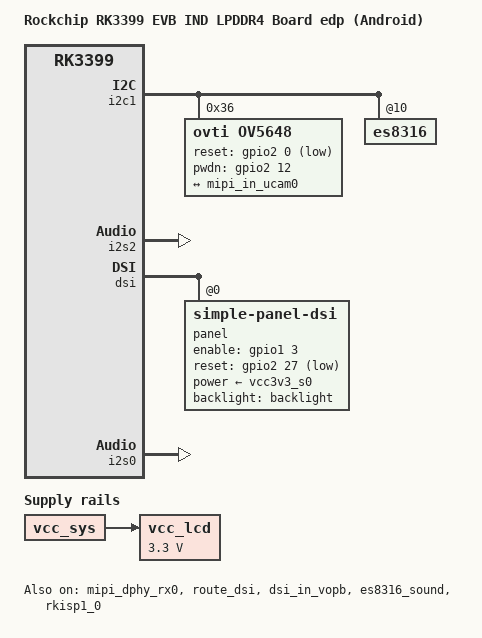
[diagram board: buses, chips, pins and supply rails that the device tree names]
// SPDX-License-Identifier: (GPL-2.0+ OR MIT)
/*
 * Copyright (c) 2019 Fuzhou Rockchip Electronics Co., Ltd
 */

/dts-v1/;

#include "rk3399-evb-ind-r70.dtsi"
#include "rk3399-android.dtsi"
//#include "lcd/lcd-dsi-JL101-CC1001-27J.dtsi"
#include "lcd/lcd-dsi-JL101-CC1001-27K.dtsi"

/ {
	model = "Rockchip RK3399 EVB IND LPDDR4 Board edp (Android)";
	compatible = "rockchip,android", "rockchip,rk3399-evb-ind-lpddr4-android-r70", "rockchip,rk3399";
	chosen: chosen {
		bootargs = "earlycon=uart8250,mmio32,0xff1a0000 console=ttyFIQ0 androidboot.baseband=N/A androidboot.veritymode=enforcing androidboot.hardware=rk30board androidboot.console=ttyFIQ0 init=/init initrd=0x62000001,0x00800000 coherent_pool=1m";
	};

	iram: sram@ff8d0000 {
		compatible = "mmio-sram";
		reg = <0x0 0xff8d0000 0x0 0x20000>;
	};

	vcc_lcd: vcc-lcd {
		compatible = "regulator-fixed";
		regulator-name = "vcc_lcd";
		startup-delay-us = <20000>;
		enable-active-high;
		regulator-min-microvolt = <3300000>;
		regulator-max-microvolt = <3300000>;
		regulator-boot-on;
		vin-supply = <&vcc_sys>;
	};


	test-power {
		status = "okay";
	};
};

&backlight {
	enable-gpios = <&gpio1 2 GPIO_ACTIVE_HIGH>;
	pinctrl-names = "default"; 
	pinctrl-0 = <&bl_en>; 
};

&dmac_bus {
	iram = <&iram>;
	rockchip,force-iram;
};
/*
&dp_sound {
	status = "disabled";
};*/
/*
&edp {
	status = "disabled";
	force-hpd;

	ports {
		port@1 {
			reg = <1>;

			edp_out: endpoint {
				remote-endpoint = <&panel_in>;
			};
		};
	};
};

&edp_in_vopl {
	status = "disabled";
};
*/
&i2c1 {
	status = "okay";
	ov5648: ov5648@36 {
		compatible = "ovti,ov5648";
		status = "okay";
		reg = <0x36>;
		clocks = <&cru SCLK_CIF_OUT>;
		clock-names = "xvclk";
		/* avdd-supply = <>; */
		/* dvdd-supply = <>; */
		/* dovdd-supply = <>; */
		/* reset-gpios = <>; */
		//dovdd-supply = <&vcc1v8_dvp>;          
		reset-gpios = <&gpio2 0 GPIO_ACTIVE_LOW>; 
		pwdn-gpios = <&gpio2 12 GPIO_ACTIVE_HIGH>;
		pinctrl-names = "rockchip,camera_default";
		pinctrl-0 = <&cif_clkout>;
		rockchip,camera-module-index = <0>;
		rockchip,camera-module-facing = "front";
		rockchip,camera-module-name = "default";
		rockchip,camera-module-lens-name = "default";                

		port {
			ucam_out0: endpoint {
				remote-endpoint = <&mipi_in_ucam0>;
				//remote-endpoint = <&mipi_in_ucam1>;
				data-lanes = <1 2>;
			};
		};
	};

	es8316: es8316@10 {
		spk_volume = <0x88>;
	};

};

&i2s2 {
	#sound-dai-cells = <0>;
	status = "okay";
};

&isp0_mmu {
	status = "okay";
};

&isp1_mmu {
	status = "okay";
};

&mipi_dphy_rx0 {
	status = "okay";

	ports {
		#address-cells = <1>;
		#size-cells = <0>;

		port@0 {
			reg = <0>;
			#address-cells = <1>;
			#size-cells = <0>;

			mipi_in_ucam0: endpoint@1 {
				reg = <1>;
				remote-endpoint = <&ucam_out0>;
				data-lanes = <1 2>;
			};
		};

		port@1 {
			reg = <1>;
			#address-cells = <1>;
			#size-cells = <0>;

			dphy_rx0_out: endpoint@0 {
				reg = <0>;
				remote-endpoint = <&isp0_mipi_in>;
			};
		};
	};
};
/*
&mipi_dphy_tx1rx1 {
	status = "okay";

	ports {
		#address-cells = <1>;
		#size-cells = <0>;

		port@0 {
			reg = <0>;
			#address-cells = <1>;
			#size-cells = <0>;

			mipi_in_ucam1: endpoint@1 {
				reg = <1>;
				remote-endpoint = <&ucam_out1>;
				data-lanes = <1 2>;
			};
		};

		port@1 {
			reg = <1>;
			#address-cells = <1>;
			#size-cells = <0>;

			dphy_tx1rx1_out: endpoint@0 {
				reg = <0>;
				remote-endpoint = <&isp1_mipi_in>;
			};
		};
	};
};
*/
&hdmi_sound {
	status = "disabled";
};

&route_dsi {
	status = "okay";
};

&dsi_in_vopl {
	status = "disabled";
};

&dsi_in_vopb {
	status = "okay";
};

&route_hdmi {
	status = "disabled";
	connect = <&vopl_out_hdmi>;
};

&i2s1 {
	#sound-dai-cells = <0>;
	status = "disabled";
};

&es8316_sound {
	status = "okay";
};

&hdmi_in_vopb {
	status = "disabled";
};

&rkisp1_0 {
	status = "okay";

	port {
		#address-cells = <1>;
		#size-cells = <0>;

		isp0_mipi_in: endpoint@0 {
			reg = <0>;
			remote-endpoint = <&dphy_rx0_out>;
		};
	};
};

//JL101-CC1001-27F
&dsi {
	status = "okay";
	rockchip,lane-rate = <480>;
	panel@0 {
		compatible ="simple-panel-dsi";
		reg = <0>;
		backlight = <&backlight>;
		power-supply = <&vcc3v3_s0>;
		enable-gpios = <&gpio1 3 GPIO_ACTIVE_HIGH>;
		reset-gpios = <&gpio2 27 GPIO_ACTIVE_LOW>;
		
		dsi,flags = <(MIPI_DSI_MODE_VIDEO | MIPI_DSI_MODE_VIDEO_BURST)>;
		dsi,format = <MIPI_DSI_FMT_RGB888>;
		dsi,lanes = <4>;
		reset-delay-ms = <20>;
		init-delay-ms = <20>;
		enable-delay-ms = <120>;
		prepare-delay-ms = <120>;
	};
};

/*
 * if enable dp_sound, should disable spdif_sound and spdif_out
 */
&spdif_out {
	status = "disabled";
};

&spdif_sound {
	status = "disabled";
};

&i2s0 {
	#sound-dai-cells = <0>;
	status = "okay";
};
/*
&tc358749x_sound {
	status = "disabled";
};
*/
&pinctrl {
	lcd-panel {
		bl_en: bl-en {
			rockchip,pins = <1 2 RK_FUNC_GPIO &pcfg_pull_up>;
		};
	};
};

